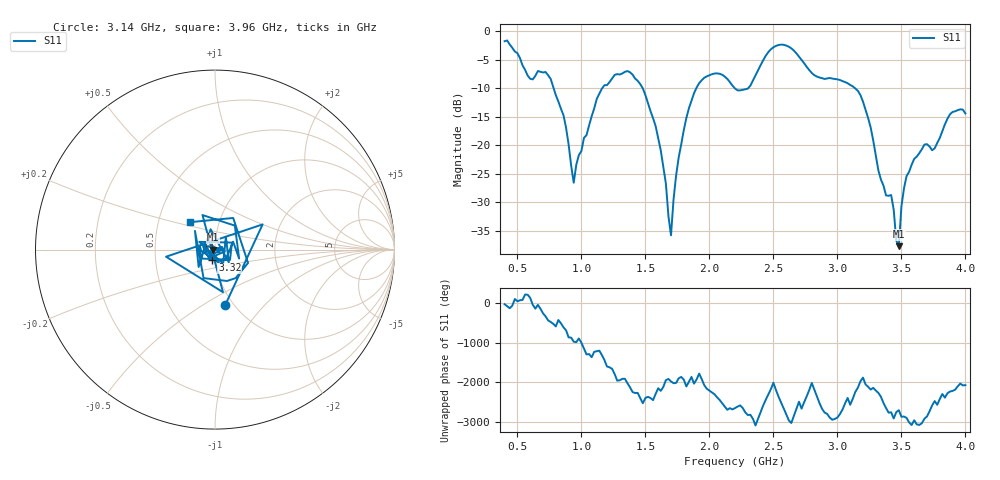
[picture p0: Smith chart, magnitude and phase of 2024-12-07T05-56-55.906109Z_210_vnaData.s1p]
!Created with skrf (http://scikit-rf.org).
# Hz S RI R 50.0
!freq ReS11 ImS11
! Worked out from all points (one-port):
!   181 points, 400 MHz to 4 GHz, reference 50 ohm
!   lowest |S11| = -37.7 dB at 3.48 GHz (marker M1), VSWR 1.03, Z = 48.7 - j0.021 ohm
!   |S11| at or under -10 dB: 783 MHz to 1.162 GHz (379.3 MHz wide, 39 % of centre); 1.479 GHz to 1.898 GHz (418.6 MHz wide, 24.8 % of centre); 3.138 GHz to end of sweep (the widest 3 of 4)
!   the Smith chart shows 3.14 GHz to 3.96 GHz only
!   S11 on the Smith chart (normalised r, x): 3.14 GHz: 0.91, -0.63; 3.32 GHz: 0.97, -0.11; 3.96 GHz: 0.73, +0.23
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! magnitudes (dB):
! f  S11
! 400 MHz  -1.8
! 600 MHz  -8.3
! 720 MHz  -7.2
! 860 MHz  -14.7
! 940 MHz  -26.6
! 1.12 GHz  -11.9
! 1.3 GHz  -7.6
! 1.46 GHz  -9.3
! 1.58 GHz  -16.6
! 1.66 GHz  -26.7
! 1.7 GHz  -35.8
! 1.76 GHz  -22.1
! 1.92 GHz  -9.1
! 2.06 GHz  -7.4
! 2.2 GHz  -10.0
! 2.3 GHz  -10.1
! 2.5 GHz  -2.8
! 2.66 GHz  -3.4
! 3.1 GHz  -9.4
! 3.14 GHz  -10.0
! 3.24 GHz  -15.2
! 3.32 GHz  -24.4
! 3.42 GHz  -28.7
! 3.48 GHz  -37.7
! 3.5 GHz  -30.8
! 3.56 GHz  -24.7
! 3.96 GHz  -13.7
! 4 GHz  -14.4
